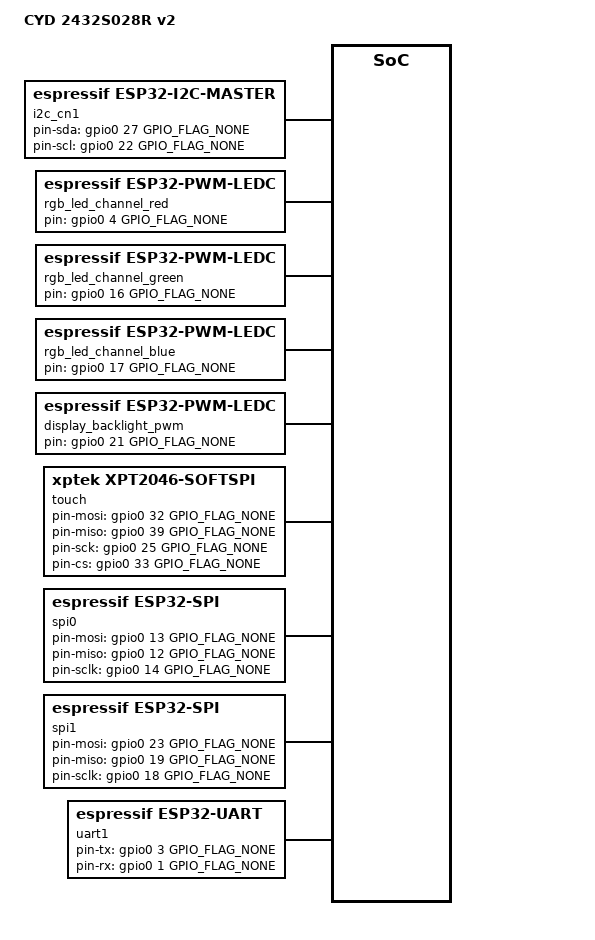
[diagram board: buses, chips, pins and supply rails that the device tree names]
/dts-v1/;

#include <tactility/bindings/root.h>
#include <tactility/bindings/esp32_wifi_pinned.h>
#include <tactility/bindings/esp32_gpio.h>
#include <tactility/bindings/esp32_i2c_master.h>
#include <tactility/bindings/esp32_spi.h>
#include <tactility/bindings/esp32_uart.h>
#include <tactility/bindings/esp32_sdspi.h>
#include <tactility/bindings/esp32_pwm_ledc.h>
#include <tactility/bindings/pwm_backlight.h>
#include <tactility/bindings/rgb_led_pwm.h>
#include <bindings/ili9341.h>
#include <bindings/xpt2046_softspi.h>

/ {
	compatible = "root";
	model = "CYD 2432S028R v2";

	wifi0 {
		compatible = "espressif,esp32-wifi-pinned";
	};

	gpio0 {
		compatible = "espressif,esp32-gpio";
		gpio-count = <40>;
	};

	i2c_cn1 {
		compatible = "espressif,esp32-i2c-master";
		port = <I2C_NUM_0>;
		clock-frequency = <400000>;
		pin-sda = <&gpio0 27 GPIO_FLAG_NONE>;
		pin-scl = <&gpio0 22 GPIO_FLAG_NONE>;
	};

	rgb_led_channel_red {
		compatible = "espressif,esp32-pwm-ledc";
		pin = <&gpio0 4 GPIO_FLAG_NONE>;
		period-ns = <500000>;
		ledc-timer = <0>;
		ledc-channel = <0>;
		inverted;
	};

	rgb_led_channel_green {
		compatible = "espressif,esp32-pwm-ledc";
		pin = <&gpio0 16 GPIO_FLAG_NONE>;
		period-ns = <500000>;
		ledc-timer = <0>;
		ledc-channel = <1>;
		inverted;
	};

	rgb_led_channel_blue {
		compatible = "espressif,esp32-pwm-ledc";
		pin = <&gpio0 17 GPIO_FLAG_NONE>;
		period-ns = <500000>;
		ledc-timer = <0>;
		ledc-channel = <2>;
		inverted;
	};

	display_backlight_pwm {
		compatible = "espressif,esp32-pwm-ledc";
		pin = <&gpio0 21 GPIO_FLAG_NONE>;
		period-ns = <1953125>;
		ledc-timer = <1>;
		ledc-channel = <3>;
	};

	rgb_led_pwm {
		compatible = "rgb-led-pwm";
		pwm-red = <&rgb_led_channel_red>;
		pwm-green = <&rgb_led_channel_green>;
		pwm-blue = <&rgb_led_channel_blue>;
		// Default is red, and we want to reset it to off by default
		default-color = <0 0 0>;
		enabled;
	};

	display_backlight {
		compatible = "pwm-backlight";
		// Off by default so display power-on won't show the screen from before the last power loss.
		// The display backlight is turned on during the boot process.
		status = "disabled";
		pwm = <&display_backlight_pwm>;
	};

	touch {
		compatible = "xptek,xpt2046-softspi";
		pin-mosi = <&gpio0 32 GPIO_FLAG_NONE>;
		pin-miso = <&gpio0 39 GPIO_FLAG_NONE>;
		pin-sck = <&gpio0 25 GPIO_FLAG_NONE>;
		pin-cs = <&gpio0 33 GPIO_FLAG_NONE>;
		x-max = <240>;
		y-max = <320>;
		mirror-x;
	};

	spi0 {
		compatible = "espressif,esp32-spi";
		host = <SPI2_HOST>;
		cs-gpios = <&gpio0 15 GPIO_FLAG_NONE>;
		pin-mosi = <&gpio0 13 GPIO_FLAG_NONE>;
		pin-miso = <&gpio0 12 GPIO_FLAG_NONE>;
		pin-sclk = <&gpio0 14 GPIO_FLAG_NONE>;

		display@0 {
			compatible = "ilitek,ili9341";
			horizontal-resolution = <240>;
			vertical-resolution = <320>;
			mirror-x;
			bgr-order;
			// This panel shows inverted colors without it
			invert-color;
			// GAMSET 0x01, the curve the gamma tables below are made for
			gamma-curve = <0>;
			pixel-clock-hz = <40000000>;
			// Power, VCOM and gamma settings for the v2 panel, which differ from the ILI9341
			// defaults used by v1. Framing is [cmd, data-len, delay-ms, data-len bytes of
			// data...] - see ili9341-module's init-sequence binding property for the encoding.
			init-sequence = [
				0xCF 3  0    0x00 0xC1 0x30                // Power control B
				0xED 4  0    0x64 0x03 0x12 0x81           // Power on sequence control
				0xE8 3  0    0x85 0x00 0x78                // Driver timing control A
				0xCB 5  0    0x39 0x2C 0x00 0x34 0x02      // Power control A
				0xF7 1  0    0x20                          // Pump ratio control
				0xEA 2  0    0x00 0x00                     // Driver timing control B
				0xC0 1  0    0x10                          // Power control 1
				0xC1 1  0    0x00                          // Power control 2
				0xC5 2  0    0x30 0x30                     // VCOM control 1
				0xC7 1  0    0xB7                          // VCOM control 2
				0xB1 2  0    0x00 0x1A                     // Frame rate control
				0xB6 3  0    0x08 0x82 0x27                // Display function control
				0xF2 1  0    0x00                          // 3-gamma function disable
				// Positive gamma correction
				0xE0 15 0    0x0F 0x2A 0x28 0x08 0x0E 0x08 0x54 0xA9 0x43 0x0A 0x0F 0x00 0x00 0x00 0x00
				// Negative gamma correction
				0xE1 15 0    0x00 0x15 0x17 0x07 0x11 0x06 0x2B 0x56 0x3C 0x05 0x10 0x0F 0x3F 0x3F 0x0F
			];
			pin-dc = <&gpio0 2 GPIO_FLAG_NONE>;
			backlight = <&display_backlight>;
		};
	};

	spi1 {
		compatible = "espressif,esp32-spi";
		host = <SPI3_HOST>;
		pin-mosi = <&gpio0 23 GPIO_FLAG_NONE>;
		pin-miso = <&gpio0 19 GPIO_FLAG_NONE>;
		pin-sclk = <&gpio0 18 GPIO_FLAG_NONE>;
		cs-gpios = <&gpio0 5 GPIO_FLAG_NONE>;

		sdcard@0 {
			compatible = "espressif,esp32-sdspi";
			frequency-khz = <20000>;
		};
	};

	uart1 {
		compatible = "espressif,esp32-uart";
		port = <UART_NUM_1>;
		pin-tx = <&gpio0 3 GPIO_FLAG_NONE>;
		pin-rx = <&gpio0 1 GPIO_FLAG_NONE>;
	};
};
